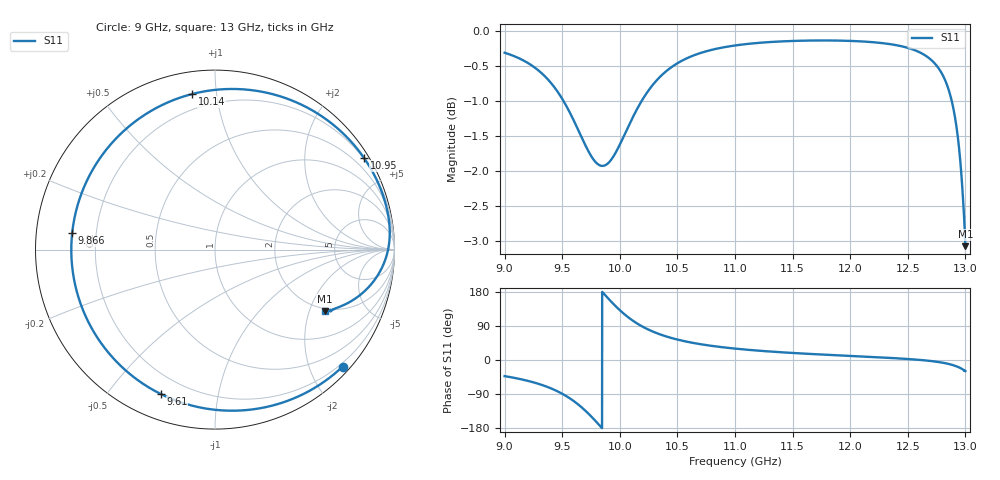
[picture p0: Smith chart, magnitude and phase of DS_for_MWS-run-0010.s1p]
! TOUCHSTONE file generated by CST DESIGN STUDIO
! Date and time: Tue Feb  4 18:44:02 2025
! Project name: C:\Work\MatlabApps\UnitCellOptimizationMatlab\CST\unitcell.cst
! Tree item: Tasks\Sweep1\SPara1\S-Parameters
! Header version: 2024
! Port assignment regex: !\s*Touchstone port\s*([0-9]+)\s*=\s*(CST MWS port|CST DES external port|CST DES block port)\s*(.+)\s* \(\"(.*)\"\)(\s*mode\s*([0-9]+))?.*
! Touchstone port assignment:
! Touchstone port 1 = CST DES external port 1 ("")
# GHz S MA R 50
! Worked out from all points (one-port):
!   4001 points, 9 GHz to 13 GHz, reference 50 ohm
!   lowest |S11| = -3.1 dB at 13 GHz (marker M1), VSWR 5.70, Z = 94.7 - j128 ohm
!   |S11| at or under -10 dB: nowhere
!   S11 on the Smith chart (normalised r, x): 9 GHz: 0.14, -2.56; 9.61 GHz: 0.11, -0.69; 9.866 GHz: 0.11, +0.06; 10.14 GHz: 0.11, +0.86; 10.95 GHz: 0.17, +3.53; 13 GHz: 1.89, -2.56
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9  0.9645 -42.5
9.146  0.9539 -51.0
9.278  0.9391 -61.4
9.393  0.9197 -73.6
9.5  0.8941 -89.0
9.61  0.8595 -110.5
9.685  0.8336 -129.3
9.76  0.8117 -151.5
9.814  0.8025 -169.1
9.866  0.8011 173.5
9.928  0.8094 153.1
10  0.8292 131.5
10.067  0.8518 114.1
10.14  0.8761 98.4
10.217  0.8984 84.9
10.311  0.9199 72.0
10.401  0.9354 62.3
10.5  0.948 53.9
10.699  0.964 41.8
10.953  0.9748 31.6
11  0.9761 30.1
11.5  0.9834 18.6
12  0.9835 10.8
12.5  0.9723 2.6
12.701  0.9535 -2.7
12.846  0.9121 -9.8
12.929  0.8464 -17.5
13  0.7016 -29.3
